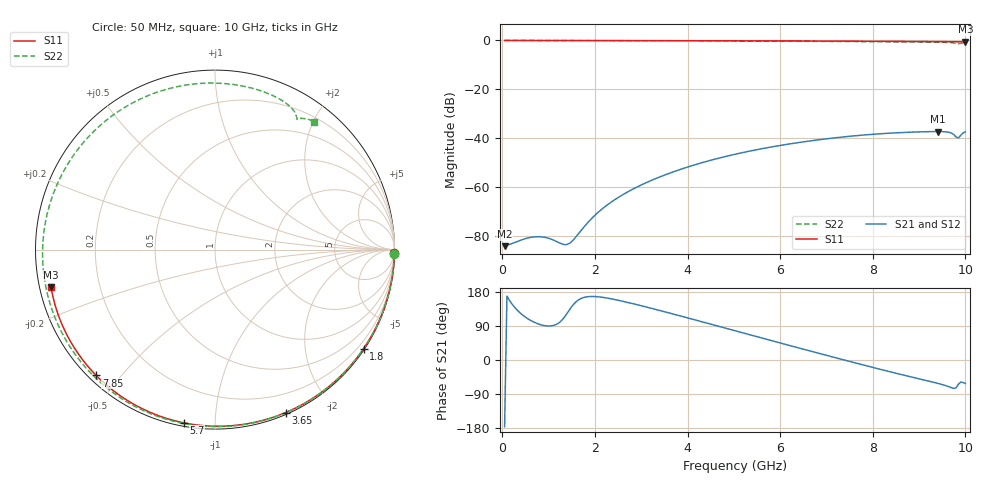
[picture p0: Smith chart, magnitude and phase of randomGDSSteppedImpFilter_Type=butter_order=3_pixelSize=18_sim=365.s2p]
! freq	dB(S11)	phase(S11)	dB(S12)	phase(S12)
!  dB(S21)	phase(S21)	dB(S22)	phase(S22)
!S-par simulation data
#  GHz  S  DB  R 50
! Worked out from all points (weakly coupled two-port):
!   200 points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, 50 MHz to 10 GHz, reference 50 ohm
!   highest |S21| = -37.32 dB at 9.4 GHz (marker M1); lowest = -84.3 dB at 50 MHz (marker M2)
!   lowest |S11| = -0.6 dB at 10 GHz (marker M3), VSWR 30.99, Z = 1.63 - j5.6 ohm
!   |S11| at or under -10 dB: nowhere
!   |S22| runs from -1.3 to 0.0 dB; largest |S21 - S12| = 0
!   S11 on the Smith chart (normalised r, x): 50 MHz: open; 1.8 GHz: 0.03, -3.30; 3.65 GHz: 0.02, -1.52; 5.7 GHz: 0.02, -0.84; 7.85 GHz: 0.02, -0.43; 10 GHz: 0.03, -0.11
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0.05  -0.00 -1.0  -84.29 -176.1  -84.29 -176.1  -0.00 -1.4
0.8  -0.02 -15.2  -80.42 94.3  -80.42 94.3  -0.02 -22.5
1.6  -0.04 -30.1  -80.27 154.4  -80.27 154.4  -0.06 -44.4
1.75  -0.04 -32.8  -76.72 164.6  -76.72 164.6  -0.06 -48.5
1.8  -0.04 -33.7  -75.60 166.1  -75.60 166.1  -0.06 -49.8
2.1  -0.05 -39.2  -69.92 166.4  -69.92 166.4  -0.07 -57.9
2.45  -0.06 -45.5  -64.98 159.0  -64.98 159.0  -0.09 -67.2
3.4  -0.08 -62.2  -55.92 130.7  -55.92 130.7  -0.12 -92.0
3.65  -0.09 -66.5  -54.12 122.6  -54.12 122.6  -0.13 -98.4
4.35  -0.11 -78.3  -49.88 99.7  -49.88 99.7  -0.17 -116.4
5.05  -0.14 -89.8  -46.52 76.4  -46.52 76.4  -0.21 -134.5
5.7  -0.17 -100.2  -44.01 54.8  -44.01 54.8  -0.26 -151.8
6.2  -0.20 -108.0  -42.40 38.4  -42.40 38.4  -0.30 -165.7
6.7  -0.23 -115.7  -41.02 22.0  -41.02 22.0  -0.35 179.6
7.3  -0.27 -125.0  -39.65 2.6  -39.65 2.6  -0.42 160.7
7.85  -0.32 -133.4  -38.67 -14.9  -38.67 -14.9  -0.49 141.6
8.35  -0.36 -141.1  -38.00 -30.4  -38.00 -30.4  -0.55 122.7
8.9  -0.42 -149.6  -37.52 -46.8  -37.52 -46.8  -0.62 99.9
9.4  -0.48 -157.5  -37.32 -61.5  -37.32 -61.5  -0.70 77.3
9.65  -0.52 -161.5  -37.65 -70.8  -37.65 -70.8  -0.83 65.0
9.85  -0.54 -164.7  -39.95 -63.8  -39.95 -63.8  -1.34 57.8
10  -0.56 -167.2  -37.44 -62.0  -37.44 -62.0  -0.89 52.3
